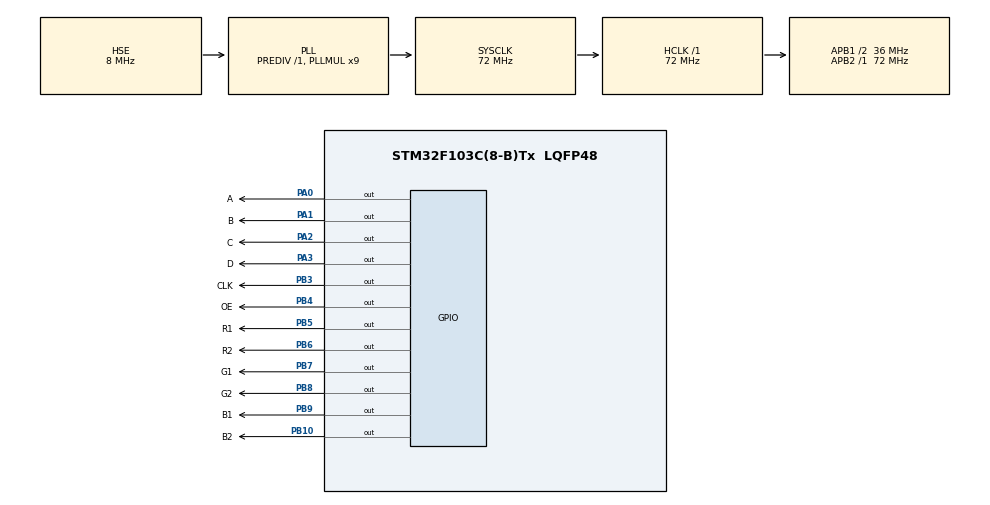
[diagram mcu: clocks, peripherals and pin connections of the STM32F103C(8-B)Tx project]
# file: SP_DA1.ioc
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Mcu.Family=STM32F1
Mcu.Name=STM32F103C(8-B)Tx
Mcu.Package=LQFP48
NVIC.PriorityGroup=NVIC_PRIORITYGROUP_4
NVIC.TIM1_UP_IRQn=true\:0\:0\:false\:false\:true\:true
PA0-WKUP.GPIO_Label=A
PA0-WKUP.GPIO_Speed=GPIO_SPEED_FREQ_HIGH
PA0-WKUP.Signal=GPIO_Output
PA1.GPIO_Label=B
PA1.GPIO_Speed=GPIO_SPEED_FREQ_HIGH
PA1.Signal=GPIO_Output
PA13.Mode=Serial_Wire
PA13.Signal=SYS_JTMS-SWDIO
PA14.Mode=Serial_Wire
PA14.Signal=SYS_JTCK-SWCLK
PA2.GPIO_Label=C
PA2.GPIO_Speed=GPIO_SPEED_FREQ_HIGH
PA2.Signal=GPIO_Output
PA3.GPIO_Label=D
PA3.GPIO_Speed=GPIO_SPEED_FREQ_HIGH
PA3.Signal=GPIO_Output
PB10.GPIO_Label=B2
PB10.GPIO_Speed=GPIO_SPEED_FREQ_HIGH
PB10.Signal=GPIO_Output
PB3.GPIO_Label=CLK
PB3.GPIO_Speed=GPIO_SPEED_FREQ_HIGH
PB3.Signal=GPIO_Output
PB4.GPIO_Label=OE
PB4.GPIO_Speed=GPIO_SPEED_FREQ_HIGH
PB4.PinState=GPIO_PIN_RESET
PB4.Signal=GPIO_Output
PB5.GPIO_Label=R1
PB5.GPIO_Speed=GPIO_SPEED_FREQ_HIGH
PB5.Signal=GPIO_Output
PB6.GPIO_Label=R2
PB6.GPIO_Speed=GPIO_SPEED_FREQ_HIGH
PB6.Signal=GPIO_Output
PB7.GPIO_Label=G1
PB7.GPIO_Speed=GPIO_SPEED_FREQ_HIGH
PB7.Signal=GPIO_Output
PB8.GPIO_Label=G2
PB8.GPIO_Speed=GPIO_SPEED_FREQ_HIGH
PB8.Signal=GPIO_Output
PB9.GPIO_Label=B1
PB9.GPIO_Speed=GPIO_SPEED_FREQ_HIGH
PB9.Signal=GPIO_Output
PC14-OSC32_IN.Mode=LSE-External-Oscillator
PC14-OSC32_IN.Signal=RCC_OSC32_IN
PC15-OSC32_OUT.Mode=LSE-External-Oscillator
PC15-OSC32_OUT.Signal=RCC_OSC32_OUT
PD0-OSC_IN.Mode=HSE-External-Oscillator
PD0-OSC_IN.Signal=RCC_OSC_IN
PD1-OSC_OUT.Mode=HSE-External-Oscillator
PD1-OSC_OUT.Signal=RCC_OSC_OUT
ProjectManager.HeapSize=0x200
ProjectManager.StackSize=0x400
ProjectManager.TargetToolchain=MDK-ARM V5
RCC.AHBFreq_Value=72000000
RCC.APB1CLKDivider=RCC_HCLK_DIV2
RCC.APB1Freq_Value=36000000
RCC.APB1TimFreq_Value=72000000
RCC.APB2Freq_Value=72000000
RCC.APB2TimFreq_Value=72000000
RCC.HCLKFreq_Value=72000000
RCC.PLLMUL=RCC_PLL_MUL9
RCC.PLLSourceVirtual=RCC_PLLSOURCE_HSE
RCC.RTCClockSelection=RCC_RTCCLKSOURCE_LSE
RCC.SYSCLKFreq_VALUE=72000000
RCC.SYSCLKSource=RCC_SYSCLKSOURCE_PLLCLK
RCC.USBFreq_Value=72000000
RTC.Format=RTC_FORMAT_BIN
TIM1.CounterMode=TIM_COUNTERMODE_DOWN
TIM1.Period=40
TIM1.Prescaler=0
VP_RTC_VS_RTC_Activate.Mode=RTC_Enabled
VP_TIM1_VS_ClockSourceINT.Mode=Internal
board=custom

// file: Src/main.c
/* USER CODE BEGIN Header */
/**
  ******************************************************************************
  * @file           : main.c
  * @brief          : Main program body
  ******************************************************************************
  ** This notice applies to any and all portions of this file
  * that are not between comment pairs USER CODE BEGIN and
  * USER CODE END. Other portions of this file, whether
  * inserted by the user or by software development tools
  * are owned by their respective copyright owners.
  *
  * COPYRIGHT(c) 2019 STMicroelectronics
  *
  * Redistribution and use in source and binary forms, with or without modification,
  * are permitted provided that the following conditions are met:
  *   1. Redistributions of source code must retain the above copyright notice,
  *      this list of conditions and the following disclaimer.
  *   2. Redistributions in binary form must reproduce the above copyright notice,
  *      this list of conditions and the following disclaimer in the documentation
  *      and/or other materials provided with the distribution.
  *   3. Neither the name of STMicroelectronics nor the names of its contributors
  *      may be used to endorse or promote products derived from this software
  *      without specific prior written permission.
  *
  * THIS SOFTWARE IS PROVIDED BY THE COPYRIGHT HOLDERS AND CONTRIBUTORS "AS IS"
  * AND ANY EXPRESS OR IMPLIED WARRANTIES, INCLUDING, BUT NOT LIMITED TO, THE
  * IMPLIED WARRANTIES OF MERCHANTABILITY AND FITNESS FOR A PARTICULAR PURPOSE ARE
  * DISCLAIMED. IN NO EVENT SHALL THE COPYRIGHT HOLDER OR CONTRIBUTORS BE LIABLE
  * FOR ANY DIRECT, INDIRECT, INCIDENTAL, SPECIAL, EXEMPLARY, OR CONSEQUENTIAL
  * DAMAGES (INCLUDING, BUT NOT LIMITED TO, PROCUREMENT OF SUBSTITUTE GOODS OR
  * SERVICES; LOSS OF USE, DATA, OR PROFITS; OR BUSINESS INTERRUPTION) HOWEVER
  * CAUSED AND ON ANY THEORY OF LIABILITY, WHETHER IN CONTRACT, STRICT LIABILITY,
  * OR TORT (INCLUDING NEGLIGENCE OR OTHERWISE) ARISING IN ANY WAY OUT OF THE USE
  * OF THIS SOFTWARE, EVEN IF ADVISED OF THE POSSIBILITY OF SUCH DAMAGE.
  *
  ******************************************************************************
  */
/* USER CODE END Header */

#include "main.h"

/* USER CODE BEGIN Includes */
#include "font.h"
#include "stdlib.h"
#include "math.h"
#include "monalisa.h"
#include "banana.h"
#include "stdio.h"
#include "smartc.h"
/* USER CODE END Includes */

RTC_HandleTypeDef hrtc;

TIM_HandleTypeDef htim1;

void SystemClock_Config(void);
static void MX_GPIO_Init(void);
static void MX_TIM1_Init(void);
static void MX_RTC_Init(void);

/* USER CODE BEGIN 0 */

#define setbit(sfr,bit)		(sfr|=(1<<bit))
#define clrbit(sfr,bit)		(sfr&=~(1<<bit))

char check_bit(unsigned char byte,unsigned char bit){
	if((byte&(1<<bit))==0x00){
		return 0;
	}
	else{
		return 1;
	}
}

uint16_t manght[64][128];

unsigned short hang=0,tsb=0x0001,tsg=0x0020,tsr=0x0800,demrgb=0,ts=0x0001,sig=0;
const unsigned short mangtg[]={160,320,640,1280,2560,5120,10240,20480};
void HAL_TIM_PeriodElapsedCallback(TIM_HandleTypeDef *htim)
{
	    if(htim->Instance ==TIM1)
			{
				 for(int ___i=0;___i<256;___i++)
			   {
					 GPIOB->ODR=0;
					 if(___i<128){
							 if((manght[hang][___i] & ts)){GPIOB->ODR|=(0x10<<5);}
							 if((manght[hang+16][___i] & ts)){GPIOB->ODR|=(0x20<<5);}
							 if((manght[hang][___i] & (tsg))){GPIOB->ODR|=(0x04<<5);}
							 if((manght[hang+16][___i] & (tsg))){GPIOB->ODR|=(0x08<<5);}
							 if((manght[hang][___i] & (ts<<11))){GPIOB->ODR|=(0x01<<5);}
							 if((manght[hang+16][___i] & (ts<<11))){GPIOB->ODR|=(0x02<<5);}
					 }
					 else{
						 if((manght[63-hang][127-___i] & ts)) {GPIOB->ODR|=(0x10<<5);}
						 if((manght[47-hang][127-___i] & ts)) {GPIOB->ODR|=(0x20<<5);}
						 if((manght[63-hang][127-___i] & tsg)) {GPIOB->ODR|=(0x04<<5);}
						 if((manght[47-hang][127-___i] & tsg)) {GPIOB->ODR|=(0x08<<5);}
						 if((manght[63-hang][127-___i] & (ts<<11))) {GPIOB->ODR|=(0x01<<5);}
						 if((manght[47-hang][127-___i] & (ts<<11))) {GPIOB->ODR|=(0x02<<5);}
					 }

					   GPIOB->ODR |= 0x0008;
					 }
				TIM1->ARR = mangtg[demrgb];
				HAL_GPIO_WritePin(GPIOB,OE_Pin,1);
				GPIOA->ODR = hang;
				HAL_GPIO_WritePin(GPIOB,OE_Pin,0);

				hang++;
				 if(hang==16){
					 hang=0;
					 demrgb++;
					 ts<<=1;
					 tsg<<=1;
					 if(tsg>0x0400) tsg=0x0020;
					 if(ts>0x0010) ts=0x0001;
					 if(demrgb==8){
						demrgb=0;
					 }

				 }
			}
}
void MATRIX_pixel_color(unsigned char x, unsigned char y,unsigned char r,unsigned char g,unsigned char b){
		if(y>63 || x>127) return;
	  if(y<0 || x<0) return;
	  manght[y][x]=(((r & 0xF8) | (g >> 5))<<8)|(((g & 0x1C) << 3) | (b  >> 3));
}
void MATRIX_pixel_color565(unsigned char x, unsigned char y,uint16_t mau){
		if(y>63 || x>127) return;
	  if(y<0 || x<0) return;
	  manght[y][x]=mau;
}
void MATRIX_line(unsigned int x1, unsigned int y1, unsigned int x2, unsigned int y2, unsigned char r,unsigned char g,unsigned char b)
{
   unsigned int        dy, dx;
   signed int  addx=1, addy=1;
   signed int P, diff;

   #ifdef LARGE_LCD
   unsigned int i=0;
   dx = abs((signed int)(x2 - x1));
   dy = abs((signed int)(y2 - y1));
   #else
   unsigned int  i=0;
   dx = abs((signed int)(x2 - x1));
   dy = abs((signed int)(y2 - y1));
   #endif
   if(x1 > x2)
      addx = -1;
   if(y1 > y2)
      addy = -1;
   if(dx >= dy)
   {
      dy *= 2;
      P = dy - dx;
      diff = P - dx;

      for(; i<=dx; ++i)
      {
    	  MATRIX_pixel_color(x1, y1, r,g,b);
         if(P < 0)
         {
            P  += dy;
            x1 += addx;
         }
         else
         {
            P  += diff;
            x1 += addx;
            y1 += addy;
         }
      }
   }
   else
   {
      dx *= 2;
      P = dx - dy;
      diff = P - dy;
      for(; i<=dy; ++i)
      {
    	  MATRIX_pixel_color(x1, y1, r,g,b);

         if(P < 0)
         {
            P  += dx;
            y1 += addy;
         }
         else
         {
            P  += diff;
            x1 += addx;
            y1 += addy;
         }
      }
   }
}
void MATRIX_circle(unsigned int x, unsigned int y, unsigned int radius, int fill,  unsigned char r1,unsigned char g1,unsigned char b1)
{
   signed int  a, b, P;
   a = 0;
   b = radius;
   P = 1 - radius;
   do
   {
      if(fill)
      {
    	  MATRIX_line(x-a, y+b, x+a, y+b,r1,g1,b1);
    	  MATRIX_line(x-a, y-b, x+a, y-b,r1,g1,b1);
    	  MATRIX_line(x-b, y+a, x+b, y+a,r1,g1,b1);
    	  MATRIX_line(x-b, y-a, x+b, y-a,r1,g1,b1);
      }
      else
      {
    	  MATRIX_pixel_color(a+x, b+y, r1,g1,b1);
    	  MATRIX_pixel_color(b+x, a+y, r1,g1,b1);
    	  MATRIX_pixel_color(x-a, b+y, r1,g1,b1);
    	  MATRIX_pixel_color(x-b, a+y, r1,g1,b1);
    	  MATRIX_pixel_color(b+x, y-a, r1,g1,b1);
    	  MATRIX_pixel_color(a+x, y-b, r1,g1,b1);
    	  MATRIX_pixel_color(x-a, y-b, r1,g1,b1);
    	  MATRIX_pixel_color(x-b, y-a, r1,g1,b1);
      }
      if(P < 0)
         P += 3 + 2 * a++;
      else
         P += 5 + 2 * (a++ - b--);
    } while(a <= b);
}
void MATRIX_rect(unsigned int x1, unsigned int y1, unsigned int x2, unsigned int y2, int fill, unsigned char r,unsigned char g,unsigned char b)
{
   if(fill)
   {
      #ifdef LARGE_LCD
      unsigned int i, xmin, xmax, ymin, ymax;
      #else
      unsigned int  i, xmin, xmax, ymin, ymax;
      #endif
      if(x1 < x2)                            //  Find x min and max
      {
         xmin = x1;
         xmax = x2;
      }
      else
      {
         xmin = x2;
         xmax = x1;
      }

      if(y1 < y2)                            // Find the y min and max
      {
         ymin = y1;
         ymax = y2;
      }
      else
      {
         ymin = y2;
         ymax = y1;
      }
      for(; xmin <= xmax; ++xmin)
      {
         for(i=ymin; i<=ymax; ++i)
         {
        	 MATRIX_pixel_color(xmin, i, r,g,b);
         }
      }
   }
   else
   {
      MATRIX_line(x1, y1, x2, y1, r,g,b);      // Draw the 4 sides
      MATRIX_line(x1, y2, x2, y2, r,g,b);
      MATRIX_line(x1, y1, x1, y2, r,g,b);
      MATRIX_line(x2, y1, x2, y2, r,g,b);
   }
}
void MATRIX_putchar8x8(unsigned char x,unsigned char y,unsigned char chu,unsigned char r,unsigned char g,unsigned char b){
	chu=chu-32;
	for(int i=0;i<8;i++){
		for(int j=0;j<8;j++){
				if(check_bit(myfont8x8[chu][i],j)){
					MATRIX_pixel_color(y+j,x+i,r,g,b);
				}
		}
	}
}
void MATRIX_putStr8x8(unsigned char x,unsigned char y,unsigned char a[],unsigned char r,unsigned char g,unsigned char b){
	unsigned char i=0;
	while(a[i]!=0x00){
		 MATRIX_putchar8x8(x,y,a[i],r,g,b);
		 i++;
		 y=y+8;
	}
}
//font cos dau
void MATRIX_putchar16x16(unsigned char x,unsigned char y,unsigned char chu,unsigned char r,unsigned char g,unsigned char b){
	 for(int i=0;i<32;i=i+2)
		 for(int j=0;j<16;j++)
		 {
			 if(check_bit(font11[chu][i+j/8],(15-j)%8)){
					if(x+i/2 >128 || x+i/2<0 ) return;
					if(y+j >255 || y+j<0)  return;
				   MATRIX_pixel_color(y+j,x+i/2,r,g,b);
			}
		}
}
void MATRIX_putStr16x16(signed int x,signed int y,unsigned char a[],unsigned char r,unsigned char g,unsigned char b){
	unsigned char i=0;
	while(a[i]!=0x00){
		 MATRIX_putchar16x16(x,y,a[i],r,g,b);
		 i++;
		 y=y+8;
	}
}
void MATRIX_putchar16x32(unsigned char x,unsigned char y,unsigned char chu,unsigned char r,unsigned char g,unsigned char b){
	for(int i=0;i<64;i=i+2){
		for(int j=0;j<16;j++){
				if(check_bit(myfont16x32[chu][i+j/8],(15-j)%8)){
					MATRIX_pixel_color(y+j,x+i/2,r,g,b);
				}
		}
	}
}
void MATRIX_putStr16x32(unsigned char x,unsigned char y,unsigned char a[],unsigned char r,unsigned char g,unsigned char b){
	unsigned char i=0;
	while(a[i]!=0x00){
		 MATRIX_putchar16x32(x,y,a[i],r,g,b);
		 i++;
		 y=y+15;
	}
}
/*unsigned short bufferio[16][128];
void giaima(){
 for( int i=0;i<16;i++)
 {
	 for(int j=0;j<16;j=j+2){
		 for(int k=0;k<8;k++){
			  bufferio[i][j*16+k]=0;
			  bufferio[i][j*16+k+8]=0;
			  if(check_bit(bufferR[i*16+j],k)!=0x00) bufferio[i][j*8+k] |=0x0020;  //chon hang chon 16 cot roi lay tung bit 16 cot
			  if(check_bit(bufferR[i*16+j+1],k)!=0x00) bufferio[i][j*8+k+8] |=0x0020;

			  if(check_bit(bufferR[(16+i)*16+j],k)!=0x00) bufferio[i][j*8+k] |=0x0040;
			  if(check_bit(bufferR[(16+i)*16+j+1],k)!=0x00) bufferio[i][j*8+k+8] |=0x0040;

			  if(check_bit(bufferG[i*16+j],k)!=0x00) bufferio[i][j*8+k] |=0x0080;
			  if(check_bit(bufferG[i*16+j+1],k)!=0x00) bufferio[i][j*8+k+8] |=0x0080;

			  if(check_bit(bufferG[(16+i)*16+j],k%8)!=0x00) bufferio[i][j*8+k] |=0x0100;
		  	if(check_bit(bufferG[(16+i)*16+j+1],k%8)!=0x00) bufferio[i][j*8+k+8] |=0x0100;

			  if(check_bit(bufferB[i*16+j],k%8)!=0x00) bufferio[i][j*8+k] |=0x0200;
			  if(check_bit(bufferB[i*16+j+1],k%8)!=0x00) bufferio[i][j*8+k+8] |=0x0200;

			  if(check_bit(bufferB[(16+i)*16+j],k%8)!=0x00) bufferio[i][j*8+k] |=0x0400;
				if(check_bit(bufferB[(16+i)*16+j+1],k%8)!=0x00) bufferio[i][j*8+k+8] |=0x0400;
		 }
	 }
 }
}*/
void drawPixelRGB565(int16_t x, int16_t y, uint16_t color) {
  uint8_t r = ((((color >> 11) & 0x1F) * 527) + 23) >> 6;
  uint8_t g = ((((color >> 5) & 0x3F) * 259) + 33) >> 6;
  uint8_t b = (((color & 0x1F) * 527) + 23) >> 6;
  MATRIX_pixel_color( x,  y, r, g,b);
}
void drawImage(int x, int y,int w,int h,uint16_t *a)
{
  int imageHeight = h;
  int imageWidth = w;
  int counter = 0;
  for (int yy = 0; yy < imageHeight; yy++)
  {
    for (int xx = 0; xx < imageWidth; xx++)
    {
			MATRIX_pixel_color565(xx+x,yy+y,a[counter]);
      counter++;
    }
  }
}
void matrix_clear_green(unsigned char x,unsigned char y){

		for(int i=0;i<x;i++){
			for(int j=0;j<y;j++){
				manght[i][j]=0;
			}
		}
}
void giaimaanh3(unsigned char *anh, unsigned int dai, unsigned int rong, signed int x, signed int y)
{
  unsigned char n,hang=0,cot=0;
   for(n=0;n<(dai*rong);n++)
   {
				 MATRIX_pixel_color(y+cot,x+hang,anh[n],anh[dai*rong+n],anh[2*dai*rong+n]);
         cot++;
         if(cot==dai) {cot=0;hang++;}
   }
}
void Chord(int r, float rot)
{

  int nodes = 6;
  float x[nodes];
  float y[nodes];
  for (int i=0; i<nodes; i++)
  {
    float a = rot + (3.14*2*i/nodes);
    x[i] = 31+3 + cos(a)*r;
    y[i] = 16 + sin(a)*r;
  }

  for (int i=0; i<(nodes-1); i++)
    for (int j=i+1; j<nodes; j++)
      MATRIX_line(15+x[i],15+y[i], 15+x[j],15+y[j], 0,255,0);

}
int i_chuoi;
float rot;
float rotationSpeed = 3.14/15;
int r_chor=1,tt_chor=0;
void hieuungchord(){

		if(tt_chor==0){
				Chord(r_chor, rot+=rotationSpeed);
				r_chor+=3;
				if(r_chor>22){
					r_chor=0;
					tt_chor=1;
				}
		}
		else{
				 Chord(22-r_chor, rot-=rotationSpeed);
				r_chor+=3;
				if(r_chor>22){
					r_chor=0;
					tt_chor=0;
				}
		}
}

unsigned short hang_led,p10_x,p10_y;
char hieuung=0;

void P10_sendnumBIG(char num)
{
			 for(int y=0;y<15;y++)
	       {
					 if(y+p10_y>127)break;
					 for(int x=0;x<10;x++)
							{
								if(x+p10_x>127)break;
							     MATRIX_pixel_color(x+p10_x,y+p10_y,number_fx[hieuung][num][0][y][x],number_fx[hieuung][num][1][y][x],number_fx[hieuung][num][2][y][x]);;
					    }
				 }
		p10_x+=11;
}
void P10_chonvitri(char y,char x)
{
	 p10_x=x;
	 p10_y=y;
}
void insoto(char y,char x,char so)
{

	P10_chonvitri(y,x);
	P10_sendnumBIG(so/10);
	P10_sendnumBIG(so%10);
}

void P10_sendnumSmall(char num)
{
		for(int mau=0;mau<3;mau++)
			 for(int y=0;y<8;y++)
					 for(int x=0;x<5;x++)
							 MATRIX_pixel_color(y+p10_y,x+p10_x,number_nho_fx[hieuung][num][mau][y][x],number_nho_fx[hieuung][num][mau+1][y][x],number_nho_fx[hieuung][num][mau+2][y][x]);
		p10_x+=6;
}
void insonho(char y,char x,char so)
{
	P10_chonvitri(y,x);
	P10_sendnumSmall(so/10);
	P10_sendnumSmall(so%10);
}

float x2,y2,x3,y3,x4,y4;
float x2_1,y2_1,x3_1,y3_1,x4_1,y4_1;
signed int humau_cir=63,humau_cir1=0;
unsigned char giay_ht,phut_ht,gio_ht;
unsigned char humau_chu=0;

//unsigned char manght_dhs[][][]
signed char down=14;
char gio=3,phut=30,giay=0;
void donghokim(){

//	MATRIX_putStr16x16color(0,57,"12",0,humau_chu);
//	MATRIX_putStr16x16color(55,117,"3",55,humau_chu);
//	MATRIX_putStr16x16color(55,4,"9",55,humau_chu);
//	MATRIX_putStr16x16color(112,60,"6",112,humau_chu);
	MATRIX_circle(63,32,31,0,255,255,255);
	humau_chu++;
	if(humau_chu>63){
		humau_chu=0;
	}
	 humau_cir--;
	if(humau_cir==0){
		humau_cir=63;
	}
	humau_cir1++;
	if(humau_cir1>127){
		humau_cir1=32;
	}

	 MATRIX_line(64,32,x3,y3,0,255,0);
	 MATRIX_line(64,32,x3_1,y3_1,0,255,0);

		MATRIX_line(64,32,x4,y4,255,0,0);
		MATRIX_line(64,32,x4_1,y4_1,255,0,0);

		MATRIX_line(64,32,x2,y2,0,0,255);
		MATRIX_line(64,32,x2_1,y2_1,0,0,255);

		x2=64+25*sin(3.14/30*giay);
		y2=32-25*cos(3.14/30*giay);
		x2_1=64+5*sin(3.14/30*((giay+30)%60));
		y2_1=32-5*cos(3.14/30*((giay+30)%60));

		x3=64+15*sin(3.14/30*phut);
		y3=32-15*cos(3.14/30*phut);
		x3_1=64+6*sin(3.14/30*((phut+30)%60));
		y3_1=32-6*cos(3.14/30*((phut+30)%60));

		x4=64+10*sin((3.14/6*gio)+(phut/10)*3.14/30);
		y4=32-10*cos((3.14/6*gio)+(phut/10)*3.14/30);
		x4_1=64+3*sin((3.14/6*((gio+6)%24))+(phut/10)*3.14/30);
		y4_1=32-3*cos((3.14/6*((gio+6)%24))+(phut/10)*3.14/30);

	/*	if(giay_ht != giay){
			 for(char color=0;color<3;color++)
			 {
					for(char x=79;x<79+10;x++)
					 manght_dhs[color][93%15][x%22]= number_fx[hieuung][giay/10%10][color][down][x-79];
					for(char x=79+11;x<79+21;x++)
					 manght_dhs[color][93%15][x%22]= number_fx[hieuung][giay%10][color][down][x-(79+11)];
			 }
			 down--;
			 if(down<0){
				 down=14;
				 giay_ht=giay;
			 }

		for(char color=0;color<3;color++)
		 for(char y=93+14;y>93;y--)
			 for(char x=79;x<79+21;x++)
				 manght[color][y][x]=manght_dhs[color][y%15][x%22];

		}else insoto(93,79,giay);*/

		hieuung=2;
		//latsoto(giay,93,79,5);
	//	insoto(93,79,giay);
	//	insonho(93,60,phut);
	//	insonho(93,41,gio);
}

/* USER CODE END 0 */

int main(void)
{

  /* MCU Configuration--------------------------------------------------------*/

  /* Reset of all peripherals, Initializes the Flash interface and the Systick. */
  HAL_Init();

  /* USER CODE BEGIN Init */
	RTC_TimeTypeDef sTime;
	RTC_DateTypeDef sTime_date;

  /* USER CODE END Init */

  /* Configure the system clock */
  SystemClock_Config();

  /* Initialize all configured peripherals */
  MX_GPIO_Init();
  MX_TIM1_Init();
  MX_RTC_Init();
  /* USER CODE BEGIN 2 */
	HAL_TIM_Base_Start_IT(&htim1);
	unsigned char cot=0;
  /* USER CODE END 2 */

  /* Infinite loop */
  while (1)
  {

    /* USER CODE BEGIN 3 */
	//	MATRIX_putStr16x32(0,0,"DO 2",255,255,255);
		drawImage(cot,0,64,32,(uint16_t *)mario);
		insoto(32,cot,9);
		cot++;
		if(cot>128) cot=0;

		matrix_clear_green(cot,0);
	//	drawImage(0,32,32,32,(uint16_t *)image);
	//	MATRIX_putStr16x32(32,0,"project",255,255,255);
	//	MATRIX_putStr8x8(16,0,"project",0,255,255);
	//	MATRIX_putStr16x16(0,0,"Duc",255,255,0);
//	giaimaanh3((unsigned char *)smartc ,64,32,0,0);
	/*	donghokim();
		giay++;
		if(giay==60) giay=0;*/
		//hieuungchord();
	//	drawImage(0,0,64,32,(uint16_t *)banana_frame_1);
	//	matrix_clear_green(64,128);
  }
  /* USER CODE END 3 */
}

void SystemClock_Config(void)
{
  RCC_OscInitTypeDef RCC_OscInitStruct = {0};
  RCC_ClkInitTypeDef RCC_ClkInitStruct = {0};
  RCC_PeriphCLKInitTypeDef PeriphClkInit = {0};

  /**Initializes the CPU, AHB and APB busses clocks
  */
  RCC_OscInitStruct.OscillatorType = RCC_OSCILLATORTYPE_HSE|RCC_OSCILLATORTYPE_LSE;
  RCC_OscInitStruct.HSEState = RCC_HSE_ON;
  RCC_OscInitStruct.HSEPredivValue = RCC_HSE_PREDIV_DIV1;
  RCC_OscInitStruct.LSEState = RCC_LSE_ON;
  RCC_OscInitStruct.HSIState = RCC_HSI_ON;
  RCC_OscInitStruct.PLL.PLLState = RCC_PLL_ON;
  RCC_OscInitStruct.PLL.PLLSource = RCC_PLLSOURCE_HSE;
  RCC_OscInitStruct.PLL.PLLMUL = RCC_PLL_MUL9;
  if (HAL_RCC_OscConfig(&RCC_OscInitStruct) != HAL_OK)
  {
    Error_Handler();
  }
  /**Initializes the CPU, AHB and APB busses clocks
  */
  RCC_ClkInitStruct.ClockType = RCC_CLOCKTYPE_HCLK|RCC_CLOCKTYPE_SYSCLK
                              |RCC_CLOCKTYPE_PCLK1|RCC_CLOCKTYPE_PCLK2;
  RCC_ClkInitStruct.SYSCLKSource = RCC_SYSCLKSOURCE_PLLCLK;
  RCC_ClkInitStruct.AHBCLKDivider = RCC_SYSCLK_DIV1;
  RCC_ClkInitStruct.APB1CLKDivider = RCC_HCLK_DIV2;
  RCC_ClkInitStruct.APB2CLKDivider = RCC_HCLK_DIV1;

  if (HAL_RCC_ClockConfig(&RCC_ClkInitStruct, FLASH_LATENCY_2) != HAL_OK)
  {
    Error_Handler();
  }
  PeriphClkInit.PeriphClockSelection = RCC_PERIPHCLK_RTC;
  PeriphClkInit.RTCClockSelection = RCC_RTCCLKSOURCE_LSE;
  if (HAL_RCCEx_PeriphCLKConfig(&PeriphClkInit) != HAL_OK)
  {
    Error_Handler();
  }
}

static void MX_RTC_Init(void)
{

  /**Initialize RTC Only
  */
  hrtc.Instance = RTC;
  hrtc.Init.AsynchPrediv = RTC_AUTO_1_SECOND;
  hrtc.Init.OutPut = RTC_OUTPUTSOURCE_ALARM;
  if (HAL_RTC_Init(&hrtc) != HAL_OK)
  {
    Error_Handler();
  }
  /* USER CODE BEGIN RTC_Init 2 */
	RTC_TimeTypeDef sTime;
	RTC_DateTypeDef sTime_date;
/*	sTime.Seconds=0;
	sTime.Minutes=0;
	sTime.Hours=14;
	HAL_RTC_SetTime(&hrtc, &sTime, RTC_FORMAT_BIN);*/
	sTime_date.Date=7;
	sTime_date.Month=12;
	sTime_date.Year=19;
	HAL_RTC_SetDate(&hrtc,&sTime_date, RTC_FORMAT_BIN);

  /* USER CODE END RTC_Init 2 */

}

static void MX_TIM1_Init(void)
{

  TIM_ClockConfigTypeDef sClockSourceConfig = {0};
  TIM_MasterConfigTypeDef sMasterConfig = {0};

  htim1.Instance = TIM1;
  htim1.Init.Prescaler = 0;
  htim1.Init.CounterMode = TIM_COUNTERMODE_DOWN;
  htim1.Init.Period = 40;
  htim1.Init.ClockDivision = TIM_CLOCKDIVISION_DIV1;
  htim1.Init.RepetitionCounter = 0;
  htim1.Init.AutoReloadPreload = TIM_AUTORELOAD_PRELOAD_DISABLE;
  if (HAL_TIM_Base_Init(&htim1) != HAL_OK)
  {
    Error_Handler();
  }
  sClockSourceConfig.ClockSource = TIM_CLOCKSOURCE_INTERNAL;
  if (HAL_TIM_ConfigClockSource(&htim1, &sClockSourceConfig) != HAL_OK)
  {
    Error_Handler();
  }
  sMasterConfig.MasterOutputTrigger = TIM_TRGO_RESET;
  sMasterConfig.MasterSlaveMode = TIM_MASTERSLAVEMODE_DISABLE;
  if (HAL_TIMEx_MasterConfigSynchronization(&htim1, &sMasterConfig) != HAL_OK)
  {
    Error_Handler();
  }

}

static void MX_GPIO_Init(void)
{
  GPIO_InitTypeDef GPIO_InitStruct = {0};

  /* GPIO Ports Clock Enable */
  __HAL_RCC_GPIOC_CLK_ENABLE();
  __HAL_RCC_GPIOD_CLK_ENABLE();
  __HAL_RCC_GPIOA_CLK_ENABLE();
  __HAL_RCC_GPIOB_CLK_ENABLE();

  /*Configure GPIO pin Output Level */
  HAL_GPIO_WritePin(GPIOA, A_Pin|B_Pin|C_Pin|D_Pin, GPIO_PIN_RESET);

  /*Configure GPIO pin Output Level */
  HAL_GPIO_WritePin(GPIOB, B2_Pin|CLK_Pin|OE_Pin|R1_Pin
                          |R2_Pin|G1_Pin|G2_Pin|B1_Pin, GPIO_PIN_RESET);

  /*Configure GPIO pins : A_Pin B_Pin C_Pin D_Pin */
  GPIO_InitStruct.Pin = A_Pin|B_Pin|C_Pin|D_Pin;
  GPIO_InitStruct.Mode = GPIO_MODE_OUTPUT_PP;
  GPIO_InitStruct.Pull = GPIO_NOPULL;
  GPIO_InitStruct.Speed = GPIO_SPEED_FREQ_HIGH;
  HAL_GPIO_Init(GPIOA, &GPIO_InitStruct);

  /*Configure GPIO pins : B2_Pin CLK_Pin OE_Pin R1_Pin
                           R2_Pin G1_Pin G2_Pin B1_Pin */
  GPIO_InitStruct.Pin = B2_Pin|CLK_Pin|OE_Pin|R1_Pin
                          |R2_Pin|G1_Pin|G2_Pin|B1_Pin;
  GPIO_InitStruct.Mode = GPIO_MODE_OUTPUT_PP;
  GPIO_InitStruct.Pull = GPIO_NOPULL;
  GPIO_InitStruct.Speed = GPIO_SPEED_FREQ_HIGH;
  HAL_GPIO_Init(GPIOB, &GPIO_InitStruct);

}

void Error_Handler(void)
{
}

/************************ (C) COPYRIGHT STMicroelectronics *****END OF FILE****/
